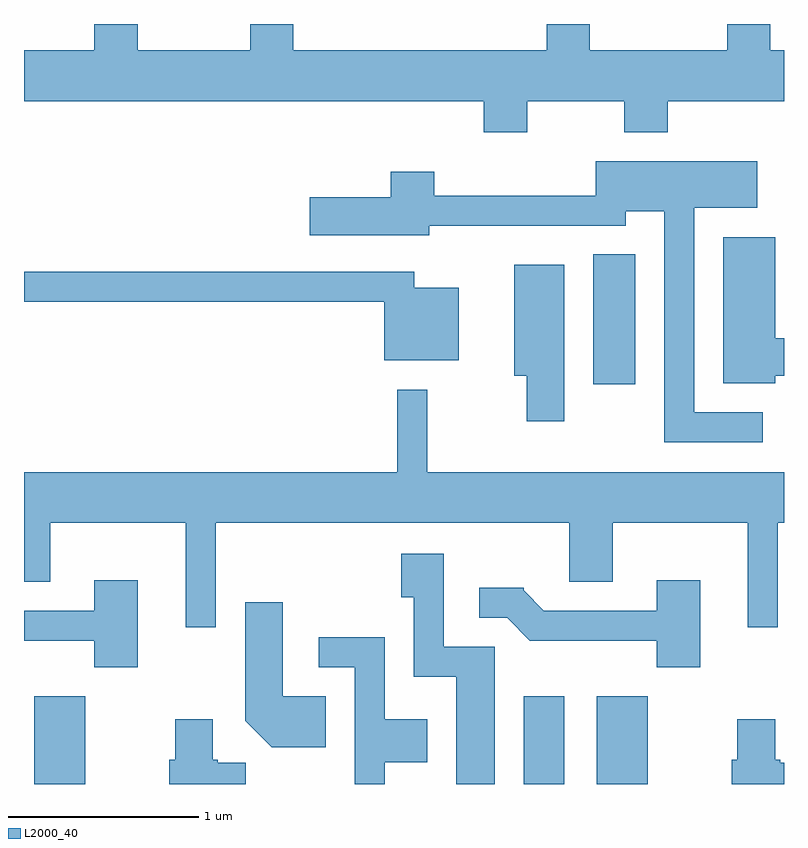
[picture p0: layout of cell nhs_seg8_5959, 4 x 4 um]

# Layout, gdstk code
import gdstk
lib = gdstk.Library(unit=1e-6, precision=1e-09)
def R(c, l, rs):  # rectangles x0, y0, x1, y1
    for r in rs: c.add(gdstk.rectangle(r[:2], r[2:], *l))
def P(c, l, *ps):  # polygons
    for p in ps: c.add(gdstk.Polygon(p, *l))
L2000_40 = (2000, 40)

nhs_seg8_5959 = lib.new_cell('nhs_seg8_5959')
R(nhs_seg8_5959, L2000_40, [(363.666,1868.342,363.934,1868.804), (366.241,1868.342,366.454,1868.804), (366.626,1868.342,366.894,1868.804), (366.606,1870.446,366.829,1871.129)])
P(nhs_seg8_5959, L2000_40, [(366.259,1871.936),(366.771,1871.936),(366.771,1871.771),(366.999,1871.771),(366.999,1871.936),(367.611,1871.936),(367.611,1872.204),(367.539,1872.204),(367.539,1872.342),(367.311,1872.342),(367.311,1872.204),(366.589,1872.204),(366.589,1872.342),(366.361,1872.342),(366.361,1872.204),(365.029,1872.204),(365.029,1872.342),(364.801,1872.342),(364.801,1872.204),(364.209,1872.204),(364.209,1872.342),(363.981,1872.342),(363.981,1872.204),(363.611,1872.204),(363.611,1871.936),(366.031,1871.936),(366.031,1871.771),(366.259,1871.771)],
  [(367.498,1870.299),(367.139,1870.299),(367.139,1871.376),(367.469,1871.376),(367.469,1871.619),(366.621,1871.619),(366.621,1871.439),(365.769,1871.439),(365.769,1871.564),(365.541,1871.564),(365.541,1871.429),(365.116,1871.429),(365.116,1871.231),(365.744,1871.231),(365.744,1871.281),(366.779,1871.281),(366.779,1871.356),(366.981,1871.356),(366.981,1870.141),(367.498,1870.141)],
  [(367.564,1870.491),(367.611,1870.491),(367.611,1870.689),(367.564,1870.689),(367.564,1871.219),(367.291,1871.219),(367.291,1870.451),(367.564,1870.451)],
  [(366.454,1871.074),(366.191,1871.074),(366.191,1870.491),(366.256,1870.491),(366.256,1870.251),(366.454,1870.251)],
  [(365.899,1870.954),(365.664,1870.954),(365.664,1871.039),(363.611,1871.039),(363.611,1870.881),(365.506,1870.881),(365.506,1870.571),(365.899,1870.571)],
  [(364.619,1869.716),(366.481,1869.716),(366.481,1869.406),(366.709,1869.406),(366.709,1869.716),(367.421,1869.716),(367.421,1869.168),(367.579,1869.168),(367.579,1869.716),(367.611,1869.716),(367.611,1869.984),(365.734,1869.984),(365.734,1870.418),(365.576,1870.418),(365.576,1869.984),(363.611,1869.984),(363.611,1869.406),(363.749,1869.406),(363.749,1869.716),(364.461,1869.716),(364.461,1869.168),(364.619,1869.168)],
  [(366.089,1869.064),(365.819,1869.064),(365.819,1869.554),(365.596,1869.554),(365.596,1869.326),(365.661,1869.326),(365.661,1868.906),(365.886,1868.906),(365.886,1868.342),(366.089,1868.342)],
  [(367.169,1869.414),(366.941,1869.414),(366.941,1869.254),(366.347,1869.254),(366.24,1869.361),(366.24,1869.374),(366.008,1869.374),(366.008,1869.216),(366.154,1869.216),(366.274,1869.096),(366.941,1869.096),(366.941,1868.956),(367.169,1868.956)],
  [(364.209,1869.414),(363.981,1869.414),(363.981,1869.254),(363.611,1869.254),(363.611,1869.096),(363.981,1869.096),(363.981,1868.956),(364.209,1868.956)],
  [(365.199,1868.804),(364.974,1868.804),(364.974,1869.299),(364.776,1869.299),(364.776,1868.674),(364.914,1868.536),(365.199,1868.536)],
  [(365.509,1868.456),(365.734,1868.456),(365.734,1868.684),(365.509,1868.684),(365.509,1869.114),(365.163,1869.114),(365.163,1868.956),(365.351,1868.956),(365.351,1868.342),(365.509,1868.342)],
  [(367.611,1868.454),(367.59,1868.454),(367.59,1868.469),(367.564,1868.469),(367.564,1868.684),(367.366,1868.684),(367.366,1868.469),(367.336,1868.469),(367.336,1868.342),(367.611,1868.342)],
  [(364.779,1868.454),(364.63,1868.454),(364.63,1868.469),(364.604,1868.469),(364.604,1868.684),(364.406,1868.684),(364.406,1868.469),(364.376,1868.469),(364.376,1868.342),(364.779,1868.342)])

lib.write_gds('nhs_seg8_5959.gds')
